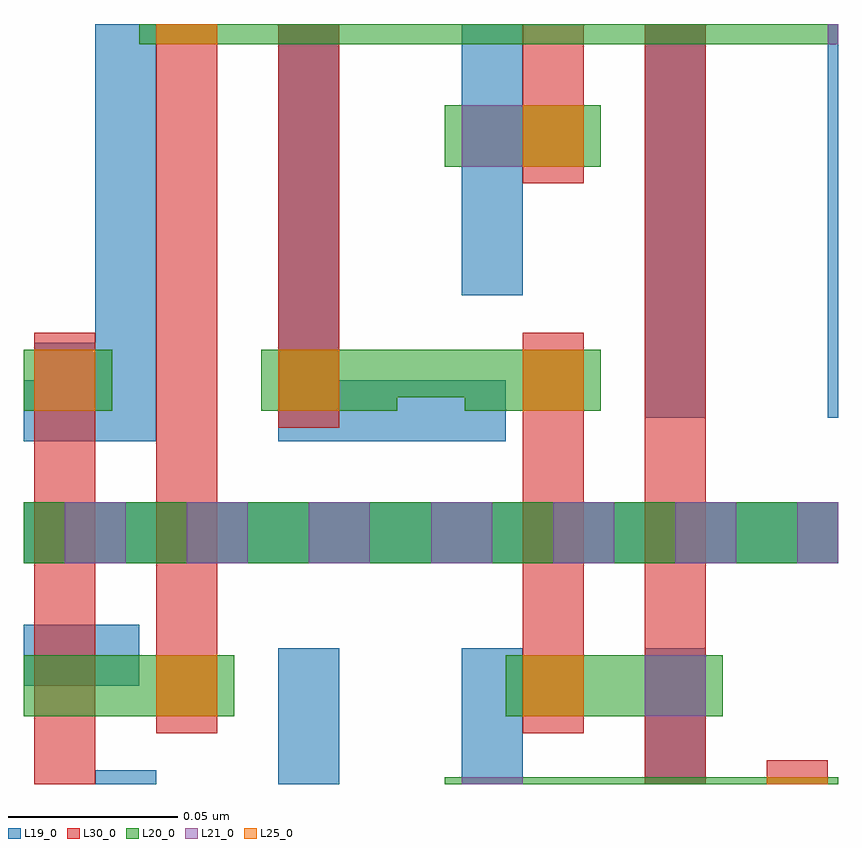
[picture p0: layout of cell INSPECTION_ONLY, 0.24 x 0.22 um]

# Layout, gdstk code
import gdstk
lib = gdstk.Library(unit=1e-6, precision=2.5e-10)
def R(c, l, rs):  # rectangles x0, y0, x1, y1
    for r in rs: c.add(gdstk.rectangle(r[:2], r[2:], *l))
def A(c, l, x, y, w, h, nx, ny, dx, dy):  # array of equal rectangles
    R(c, l, [(x+i*dx, y+j*dy, x+i*dx+w, y+j*dy+h) for i in range(nx) for j in range(ny)])
def P(c, l, *ps):  # polygons
    for p in ps: c.add(gdstk.Polygon(p, *l))
L19_0 = (19, 0)
L20_0 = (20, 0)
L21_0 = (21, 0)
L25_0 = (25, 0)
L30_0 = (30, 0)

inspection_only = lib.new_cell('INSPECTION_ONLY')
A(inspection_only, L19_0, 12.6, 12.346, 0.018, 0.04, 3, 1, 0.054, 0)
R(inspection_only, L19_0, [(12.546,12.346,12.564,12.35), (12.654,12.346,12.672,12.35), (12.708,12.364,12.726,12.386), (12.525,12.375,12.559,12.393), (12.525,12.411,12.765,12.429), (12.525,12.411,12.765,12.429), (12.525,12.411,12.765,12.429), (12.525,12.411,12.582,12.429), (12.582,12.411,12.765,12.429), (12.528,12.454,12.546,12.476), (12.708,12.454,12.726,12.57), (12.762,12.454,12.765,12.57), (12.654,12.49,12.672,12.57), (12.654,12.526,12.672,12.548), (12.762,12.562,12.765,12.57)])
P(inspection_only, L19_0, [(12.525,12.447),(12.525,12.465),(12.546,12.465),(12.546,12.57),(12.564,12.57),(12.564,12.447)],
  [(12.6,12.447),(12.6,12.57),(12.618,12.57),(12.618,12.465),(12.667,12.465),(12.667,12.447)])
R(inspection_only, L20_0, [(12.649,12.346,12.765,12.348), (12.525,12.366,12.587,12.384), (12.667,12.366,12.731,12.384), (12.525,12.411,12.765,12.429), (12.525,12.456,12.551,12.474), (12.649,12.528,12.695,12.546), (12.559,12.564,12.765,12.57)])
P(inspection_only, L20_0, [(12.595,12.456),(12.595,12.474),(12.695,12.474),(12.695,12.456),(12.655,12.456),(12.655,12.46),(12.635,12.46),(12.635,12.456)])
A(inspection_only, L21_0, 12.537, 12.411, 0.018, 0.018, 6, 1, 0.036, 0)
R(inspection_only, L21_0, [(12.654,12.346,12.672,12.348), (12.708,12.366,12.726,12.384), (12.753,12.411,12.765,12.429), (12.528,12.456,12.546,12.474), (12.654,12.528,12.672,12.546), (12.762,12.564,12.765,12.57)])
A(inspection_only, L25_0, 12.528, 12.456, 0.018, 0.018, 3, 1, 0.072, 0)
R(inspection_only, L25_0, [(12.744,12.346,12.762,12.348), (12.564,12.366,12.582,12.384), (12.672,12.366,12.69,12.384), (12.672,12.528,12.69,12.546), (12.564,12.564,12.582,12.57)])
R(inspection_only, L30_0, [(12.528,12.346,12.546,12.479), (12.708,12.346,12.726,12.57), (12.744,12.346,12.762,12.353), (12.564,12.361,12.582,12.57), (12.672,12.361,12.69,12.479), (12.6,12.451,12.618,12.57), (12.672,12.523,12.69,12.57)])

lib.write_gds('INSPECTION_ONLY.gds')
